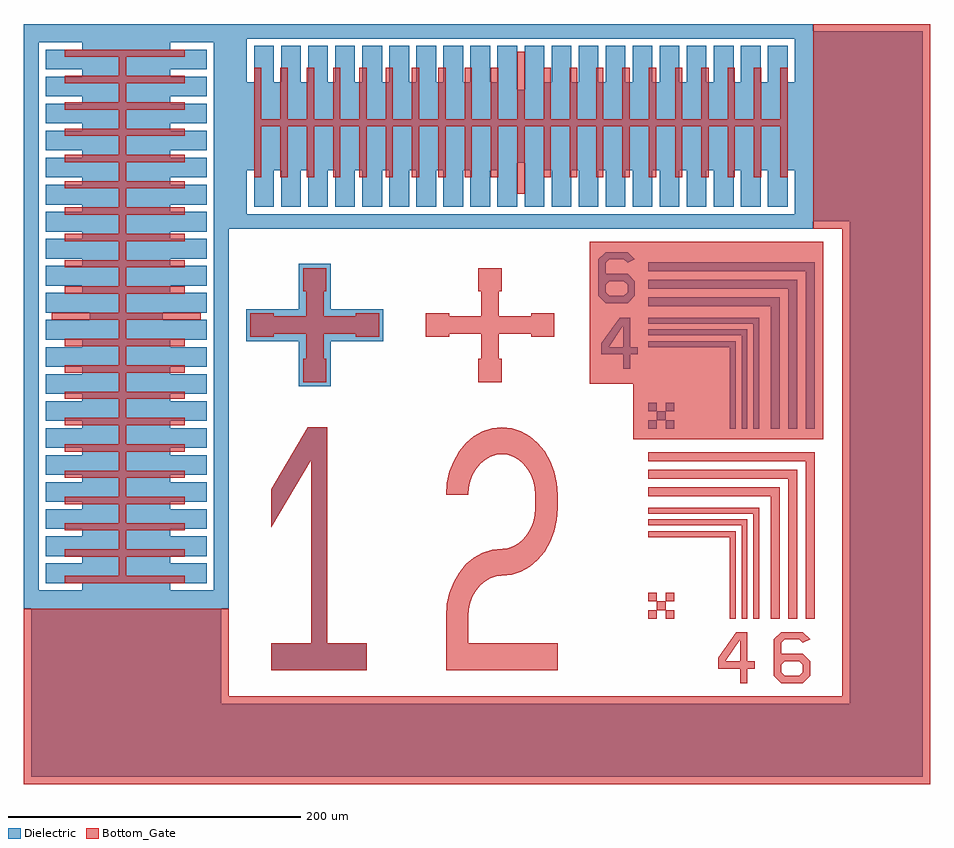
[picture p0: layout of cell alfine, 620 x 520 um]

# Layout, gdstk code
import gdstk
lib = gdstk.Library(unit=1e-6, precision=1e-09)
def R(c, l, rs):  # rectangles x0, y0, x1, y1
    for r in rs: c.add(gdstk.rectangle(r[:2], r[2:], *l))
def A(c, l, x, y, w, h, nx, ny, dx, dy):  # array of equal rectangles
    R(c, l, [(x+i*dx, y+j*dy, x+i*dx+w, y+j*dy+h) for i in range(nx) for j in range(ny)])
def P(c, l, *ps):  # polygons
    for p in ps: c.add(gdstk.Polygon(p, *l))
Bottom_Gate = (2, 0)
Dielectric = (4, 0)

alfine = lib.new_cell('alfine')
A(alfine, Bottom_Gate, 28, 137.5, 82, 5, 1, 10, 0, 18)
A(alfine, Bottom_Gate, 28, 335.5, 82, 5, 1, 10, 0, 18)
A(alfine, Bottom_Gate, 157.5, 415, 5, 75, 10, 1, 18, 0)
A(alfine, Bottom_Gate, 355.5, 415, 5, 75, 10, 1, 18, 0)
R(alfine, Bottom_Gate, [(475,79,500,84), (427,113,433,119), (439,113,445,119), (433,119,439,125), (427,125,433,131), (439,125,445,131), (65,142.5,70,497.5), (19,317.5,121,322.5), (337.5,404,342.5,501), (162.5,450,517.5,455)])
P(alfine, Bottom_Gate, [(155,322),(155,306),(171,306),(171,308),(193,308),(193,291),(191,291),(191,275),(207,275),(207,291),(205,291),(205,308),(227,308),(227,306),(243,306),(243,322),(227,322),(227,320),(205,320),(205,337),(207,337),(207,353),(191,353),(191,337),(193,337),(193,320),(171,320),(171,322)],
  [(207.45,244.08),(194.29,244.08),(169.27,201.75),(169.27,175.64),(196.54,221.79),(196.55,96.38),(169.27,96.38),(169.27,77.92),(234.73,77.92),(234.73,96.38),(207.45,96.38)],
  [(288.82,77.92),(365.18,77.92),(365.18,96.38),(304.09,96.38),(304.09,114.85),(304.44,119.66),(305.47,124.32),(307.16,128.69),(309.45,132.65),(312.27,136.06),(315.55,138.83),(319.17,140.87),(323.02,142.12),(333.63,143.24),(340.06,145.32),(346.09,148.72),(351.54,153.34),(356.25,159.02),(360.07,165.62),(362.88,172.91),(364.6,180.68),(365.18,188.69),(365.18,197.92),(364.6,205.94),(362.88,213.71),(360.07,221),(356.25,227.59),(351.54,233.28),(346.09,237.89),(340.06,241.29),(333.63,243.38),(327,244.08),(320.37,243.38),(313.94,241.29),(307.91,237.89),(302.46,233.28),(297.75,227.59),(293.93,221),(291.12,213.71),(289.4,205.94),(288.82,197.92),(304.09,197.92),(304.44,202.73),(305.47,207.39),(307.16,211.77),(309.45,215.72),(312.27,219.14),(315.54,221.9),(319.17,223.94),(323.02,225.19),(327,225.62),(330.98,225.19),(334.83,223.94),(338.45,221.9),(341.73,219.14),(344.55,215.72),(346.84,211.77),(348.53,207.39),(349.56,202.73),(349.91,197.92),(349.91,188.69),(349.56,183.88),(348.53,179.22),(346.84,174.85),(344.55,170.89),(341.73,167.48),(338.45,164.71),(334.83,162.67),(330.98,161.42),(320.37,160.3),(313.94,158.22),(307.91,154.82),(302.46,150.2),(297.75,144.51),(293.93,137.92),(291.12,130.63),(289.4,122.86),(288.82,114.85)],
  [(275,322),(275,306),(291,306),(291,308),(313,308),(313,291),(311,291),(311,275),(327,275),(327,291),(325,291),(325,308),(347,308),(347,306),(363,306),(363,322),(347,322),(347,320),(325,320),(325,337),(327,337),(327,353),(311,353),(311,337),(313,337),(313,320),(291,320),(291,322)],
  [(490,69),(495,69),(495,104),(490,99)],
  [(490,99),(495,104),(487.5,104)],
  [(487.5,104),(490,99),(480,84),(475,86.5)],
  [(475,86.5),(480,84),(475,84)],
  [(530.5,99),(533,104),(518,104),(520.5,99)],
  [(520.5,99),(518,104),(513,99),(518,96.5)],
  [(518,96.5),(513,99),(513,74),(518,76.5)],
  [(518,76.5),(513,74),(518,69),(520.5,74)],
  [(520.5,74),(518,69),(533,69),(530.5,74)],
  [(530.5,74),(533,69),(538,74),(533,76.5)],
  [(533,76.5),(538,74),(538,84),(533,81.5)],
  [(533,81.5),(538,84),(533,89),(530.5,84)],
  [(530.5,84),(533,89),(518,89),(520.5,84)],
  [(533,96.5),(538,99),(533,104),(530.5,99)],
  [(518,89),(518,81.5),(520.5,84)],
  [(499,113),(503,113),(503,189),(499,185)],
  [(535,113),(541,113),(541,227),(535,221)],
  [(523,113),(529,113),(529,215),(523,209)],
  [(511,113),(517,113),(517,203),(511,197)],
  [(491,113),(495,113),(495,181),(491,177)],
  [(483,113),(487,113),(487,173),(483,169)],
  [(427,177),(427,181),(495,181),(491,177)],
  [(427,169),(427,173),(487,173),(483,169)],
  [(427,185),(427,189),(503,189),(499,185)],
  [(427,197),(427,203),(517,203),(511,197)],
  [(427,221),(427,227),(541,227),(535,221)],
  [(427,209),(427,215),(529,215),(523,209)],
  [(560,60),(140,60),(140,120),(0,120),(0,0),(620,0),(620,520),(540,520),(540,380),(560,380)],
  [(387,274),(417,274),(417,236),(547,236),(547,371),(387,371)])
R(alfine, Dielectric, [(427,243,433,249), (439,243,445,249), (433,249,439,255), (427,255,433,261), (439,255,445,261), (395,294,420,299)])
P(alfine, Dielectric, [(140,380),(540,380),(540,520),(140,520),(140,480),(152.5,480),(152.5,510),(527.5,510),(527.5,480),(522.5,480),(522.5,505),(509,505),(509,480),(504,480),(504,505),(490.5,505),(490.5,480),(485.5,480),(485.5,505),(472,505),(472,480),(467,480),(467,505),(453.5,505),(453.5,480),(448.5,480),(448.5,505),(435,505),(435,480),(430,480),(430,505),(416.5,505),(416.5,480),(411.5,480),(411.5,505),(398,505),(398,480),(393,480),(393,505),(379.5,505),(379.5,480),(374.5,480),(374.5,505),(361,505),(361,480),(356,480),(356,505),(342.5,505),(342.5,475),(337.5,475),(337.5,505),(324,505),(324,480),(319,480),(319,505),(305.5,505),(305.5,480),(300.5,480),(300.5,505),(287,505),(287,480),(282,480),(282,505),(268.5,505),(268.5,480),(263.5,480),(263.5,505),(250,505),(250,480),(245,480),(245,505),(231.5,505),(231.5,480),(226.5,480),(226.5,505),(213,505),(213,480),(208,480),(208,505),(194.5,505),(194.5,480),(189.5,480),(189.5,505),(176,505),(176,480),(171,480),(171,505),(157.5,505),(157.5,480),(140,480),(140,390),(152.5,390),(152.5,420),(157.5,420),(157.5,395),(171,395),(171,420),(176,420),(176,395),(189.5,395),(189.5,420),(194.5,420),(194.5,395),(208,395),(208,420),(213,420),(213,395),(226.5,395),(226.5,420),(231.5,420),(231.5,395),(245,395),(245,420),(250,420),(250,395),(263.5,395),(263.5,420),(268.5,420),(268.5,395),(282,395),(282,420),(287,420),(287,395),(300.5,395),(300.5,420),(305.5,420),(305.5,395),(319,395),(319,420),(324,420),(324,395),(337.5,395),(337.5,425),(342.5,425),(342.5,395),(356,395),(356,420),(361,420),(361,395),(374.5,395),(374.5,420),(379.5,420),(379.5,395),(393,395),(393,420),(398,420),(398,395),(411.5,395),(411.5,420),(416.5,420),(416.5,395),(430,395),(430,420),(435,420),(435,395),(448.5,395),(448.5,420),(453.5,420),(453.5,395),(467,395),(467,420),(472,420),(472,395),(485.5,395),(485.5,420),(490.5,420),(490.5,395),(504,395),(504,420),(509,420),(509,395),(522.5,395),(522.5,420),(527.5,420),(527.5,390),(140,390)],
  [(140,120),(140,520),(0,520),(0,120),(40,120),(40,132.5),(10,132.5),(10,507.5),(40,507.5),(40,502.5),(15,502.5),(15,489),(40,489),(40,484),(15,484),(15,470.5),(40,470.5),(40,465.5),(15,465.5),(15,452),(40,452),(40,447),(15,447),(15,433.5),(40,433.5),(40,428.5),(15,428.5),(15,415),(40,415),(40,410),(15,410),(15,396.5),(40,396.5),(40,391.5),(15,391.5),(15,378),(40,378),(40,373),(15,373),(15,359.5),(40,359.5),(40,354.5),(15,354.5),(15,341),(40,341),(40,336),(15,336),(15,322.5),(45,322.5),(45,317.5),(15,317.5),(15,304),(40,304),(40,299),(15,299),(15,285.5),(40,285.5),(40,280.5),(15,280.5),(15,267),(40,267),(40,262),(15,262),(15,248.5),(40,248.5),(40,243.5),(15,243.5),(15,230),(40,230),(40,225),(15,225),(15,211.5),(40,211.5),(40,206.5),(15,206.5),(15,193),(40,193),(40,188),(15,188),(15,174.5),(40,174.5),(40,169.5),(15,169.5),(15,156),(40,156),(40,151),(15,151),(15,137.5),(40,137.5),(40,120),(130,120),(130,132.5),(100,132.5),(100,137.5),(125,137.5),(125,151),(100,151),(100,156),(125,156),(125,169.5),(100,169.5),(100,174.5),(125,174.5),(125,188),(100,188),(100,193),(125,193),(125,206.5),(100,206.5),(100,211.5),(125,211.5),(125,225),(100,225),(100,230),(125,230),(125,243.5),(100,243.5),(100,248.5),(125,248.5),(125,262),(100,262),(100,267),(125,267),(125,280.5),(100,280.5),(100,285.5),(125,285.5),(125,299),(100,299),(100,304),(125,304),(125,317.5),(95,317.5),(95,322.5),(125,322.5),(125,336),(100,336),(100,341),(125,341),(125,354.5),(100,354.5),(100,359.5),(125,359.5),(125,373),(100,373),(100,378),(125,378),(125,391.5),(100,391.5),(100,396.5),(125,396.5),(125,410),(100,410),(100,415),(125,415),(125,428.5),(100,428.5),(100,433.5),(125,433.5),(125,447),(100,447),(100,452),(125,452),(125,465.5),(100,465.5),(100,470.5),(125,470.5),(125,484),(100,484),(100,489),(125,489),(125,502.5),(100,502.5),(100,507.5),(130,507.5),(130,120)],
  [(188,356),(188,325),(152,325),(152,303),(188,303),(188,272),(210,272),(210,303),(246,303),(246,325),(210,325),(210,356)],
  [(207.45,244.08),(194.29,244.08),(169.27,201.75),(169.27,175.64),(196.54,221.79),(196.55,96.38),(169.27,96.38),(169.27,77.92),(234.73,77.92),(234.73,96.38),(207.45,96.38)],
  [(499,243),(503,243),(503,319),(499,315)],
  [(535,243),(541,243),(541,357),(535,351)],
  [(523,243),(529,243),(529,345),(523,339)],
  [(511,243),(517,243),(517,333),(511,327)],
  [(491,243),(495,243),(495,311),(491,307)],
  [(483,243),(487,243),(487,303),(483,299)],
  [(427,307),(427,311),(495,311),(491,307)],
  [(427,299),(427,303),(487,303),(483,299)],
  [(427,315),(427,319),(503,319),(499,315)],
  [(427,327),(427,333),(517,333),(511,327)],
  [(427,351),(427,357),(541,357),(535,351)],
  [(427,339),(427,345),(529,345),(523,339)],
  [(410,284),(415,284),(415,319),(410,314)],
  [(410,314),(415,319),(407.5,319)],
  [(407.5,319),(410,314),(400,299),(395,301.5)],
  [(395,301.5),(400,299),(395,299)],
  [(410.5,359),(413,364),(398,364),(400.5,359)],
  [(400.5,359),(398,364),(393,359),(398,356.5)],
  [(398,356.5),(393,359),(393,334),(398,336.5)],
  [(398,336.5),(393,334),(398,329),(400.5,334)],
  [(400.5,334),(398,329),(413,329),(410.5,334)],
  [(410.5,334),(413,329),(418,334),(413,336.5)],
  [(413,336.5),(418,334),(418,344),(413,341.5)],
  [(413,341.5),(418,344),(413,349),(410.5,344)],
  [(410.5,344),(413,349),(398,349),(400.5,344)],
  [(413,356.5),(418,359),(413,364),(410.5,359)],
  [(398,349),(398,341.5),(400.5,344)],
  [(5,5),(615,5),(615,515),(540,515),(540,385),(565,385),(565,55),(135,55),(135,120),(5,120)])

lib.write_gds('alfine.gds')
